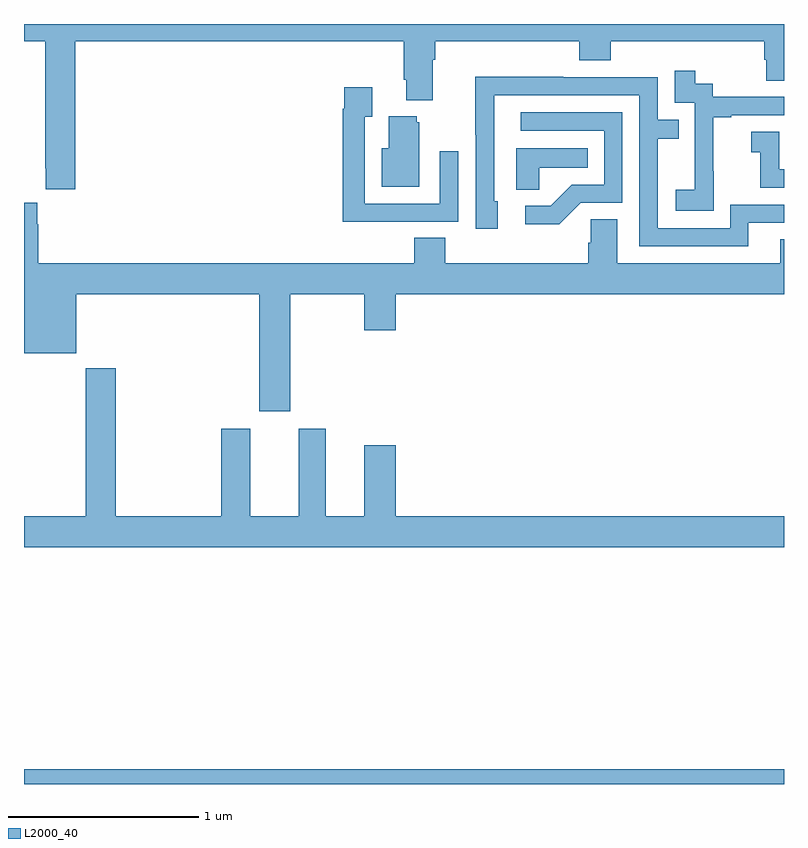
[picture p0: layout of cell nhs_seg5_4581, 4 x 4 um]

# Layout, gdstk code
import gdstk
lib = gdstk.Library(unit=1e-6, precision=1e-09)
def R(c, l, rs):  # rectangles x0, y0, x1, y1
    for r in rs: c.add(gdstk.rectangle(r[:2], r[2:], *l))
def P(c, l, *ps):  # polygons
    for p in ps: c.add(gdstk.Polygon(p, *l))
L2000_40 = (2000, 40)

nhs_seg5_4581 = lib.new_cell('nhs_seg5_4581')
R(nhs_seg5_4581, L2000_40, [(379,904.799,383,904.876)])
P(nhs_seg5_4581, L2000_40, [(379.271,908.708),(380.999,908.708),(380.999,908.506),(381.011,908.506),(381.011,908.399),(381.151,908.399),(381.151,908.612),(381.164,908.612),(381.164,908.708),(381.923,908.708),(381.923,908.609),(382.088,908.609),(382.088,908.708),(382.895,908.708),(382.895,908.61),(382.907,908.61),(382.907,908.5),(383,908.5),(383,908.799),(379,908.799),(379,908.708),(379.111,908.708),(379.111,908.041),(379.115,908.041),(379.115,907.929),(379.271,907.929)],
  [(382.629,908.023),(382.628,908.023),(382.628,908.307),(382.723,908.307),(382.723,908.319),(383,908.319),(383,908.415),(382.626,908.415),(382.626,908.484),(382.534,908.484),(382.534,908.554),(382.425,908.554),(382.425,908.385),(382.53,908.385),(382.53,908.156),(382.529,908.156),(382.529,907.927),(382.431,907.927),(382.431,907.817),(382.629,907.817)],
  [(382.813,907.752),(383,907.752),(383,907.848),(382.716,907.848),(382.716,907.725),(382.335,907.725),(382.335,908.194),(382.445,908.194),(382.445,908.295),(382.335,908.295),(382.335,908.52),(381.839,908.52),(381.839,908.522),(381.376,908.522),(381.376,908.215),(381.378,908.215),(381.378,907.722),(381.493,907.722),(381.493,907.866),(381.474,907.866),(381.474,908.424),(382.239,908.424),(382.239,907.629),(382.813,907.629)],
  [(380.969,907.758),(381.285,907.758),(381.285,908.128),(381.189,908.128),(381.189,907.854),(380.793,907.854),(380.793,908.311),(380.833,908.311),(380.833,908.467),(380.685,908.467),(380.685,908.354),(380.677,908.354),(380.677,907.757),(380.969,907.757)],
  [(381.93,907.857),(382.149,907.857),(382.149,908.334),(381.615,908.334),(381.615,908.238),(382.053,908.238),(382.053,907.953),(381.884,907.953),(381.773,907.842),(381.639,907.842),(381.639,907.745),(381.817,907.745)],
  [(381.079,908.283),(381.068,908.283),(381.068,908.314),(380.921,908.314),(380.921,908.146),(380.882,908.146),(380.882,907.943),(381.079,907.943)],
  [(383,908.034),(382.974,908.034),(382.974,908.233),(382.827,908.233),(382.827,908.123),(382.876,908.123),(382.876,907.938),(383,907.938)],
  [(381.711,908.042),(381.968,908.042),(381.968,908.146),(381.59,908.146),(381.59,907.927),(381.711,907.927)],
  [(380.401,907.376),(380.792,907.376),(380.792,907.188),(380.956,907.188),(380.956,907.376),(383,907.376),(383,907.667),(382.979,907.667),(382.979,907.54),(382.123,907.54),(382.123,907.772),(381.984,907.772),(381.984,907.649),(381.971,907.649),(381.971,907.54),(381.218,907.54),(381.218,907.673),(381.053,907.673),(381.053,907.54),(379.076,907.54),(379.076,907.745),(379.069,907.745),(379.069,907.858),(379,907.858),(379,907.067),(379.276,907.067),(379.276,907.376),(380.237,907.376),(380.237,906.762),(380.401,906.762)],
  [(383,906.208),(380.956,906.208),(380.956,906.583),(380.792,906.583),(380.792,906.208),(380.587,906.208),(380.587,906.67),(380.447,906.67),(380.447,906.208),(380.191,906.208),(380.191,906.67),(380.039,906.67),(380.039,906.208),(379.484,906.208),(379.484,906.988),(379.324,906.988),(379.324,906.208),(379,906.208),(379,906.044),(383,906.044)])

lib.write_gds('nhs_seg5_4581.gds')
